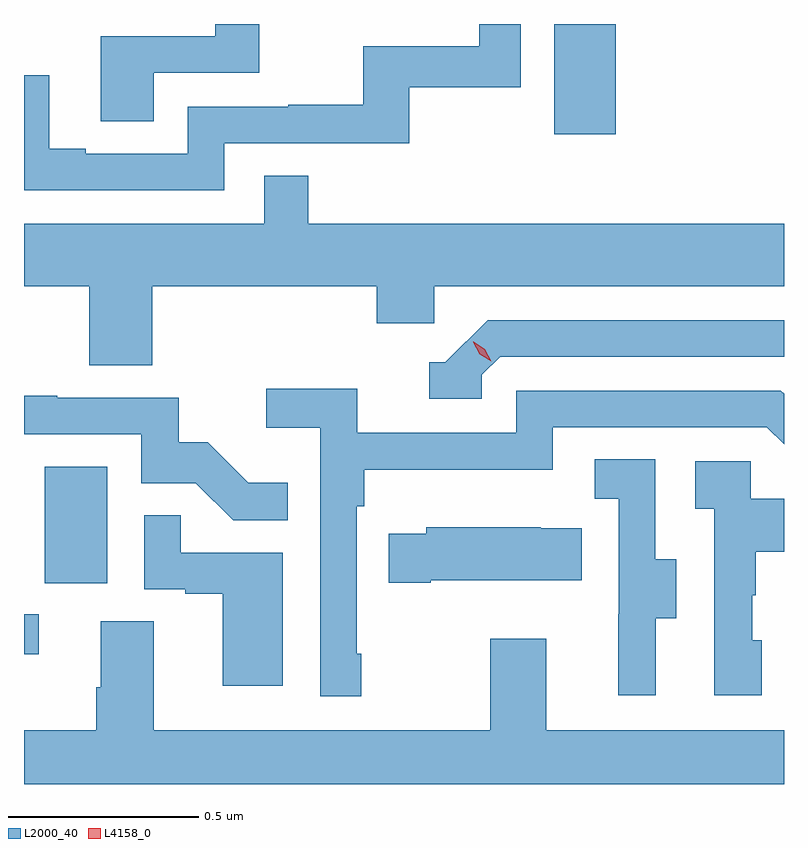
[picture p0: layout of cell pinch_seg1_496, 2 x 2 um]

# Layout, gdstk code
import gdstk
lib = gdstk.Library(unit=1e-6, precision=1e-09)
def R(c, l, rs):  # rectangles x0, y0, x1, y1
    for r in rs: c.add(gdstk.rectangle(r[:2], r[2:], *l))
def P(c, l, *ps):  # polygons
    for p in ps: c.add(gdstk.Polygon(p, *l))
L2000_40 = (2000, 40)
L4158_0 = (4158, 0)

pinch_seg1_496 = lib.new_cell('pinch_seg1_496')
R(pinch_seg1_496, L2000_40, [(1090.339,524.124,1090.378,524.229), (1090.394,524.31,1090.558,524.617), (1091.735,525.492,1091.896,525.782)])
P(pinch_seg1_496, L2000_40, [(1090.681,525.654),(1090.958,525.654),(1090.958,525.782),(1090.842,525.782),(1090.842,525.75),(1090.541,525.75),(1090.541,525.526),(1090.681,525.526)],
  [(1090.866,525.468),(1091.353,525.468),(1091.353,525.615),(1091.646,525.615),(1091.646,525.782),(1091.537,525.782),(1091.537,525.724),(1091.232,525.724),(1091.232,525.569),(1091.035,525.569),(1091.035,525.564),(1090.77,525.564),(1090.77,525.441),(1090.501,525.441),(1090.501,525.454),(1090.405,525.454),(1090.405,525.647),(1090.339,525.647),(1090.339,525.345),(1090.866,525.345)],
  [(1090.676,525.092),(1091.267,525.092),(1091.267,524.994),(1091.418,524.994),(1091.418,525.092),(1092.339,525.092),(1092.339,525.256),(1091.087,525.256),(1091.087,525.383),(1090.971,525.383),(1090.971,525.256),(1090.339,525.256),(1090.339,525.092),(1090.511,525.092),(1090.511,524.884),(1090.676,524.884)],
  [(1091.544,524.859),(1091.592,524.907),(1092.339,524.907),(1092.339,525.003),(1091.559,525.003),(1091.448,524.892),(1091.405,524.892),(1091.405,524.796),(1091.544,524.796)],
  [(1091.227,524.125),(1091.214,524.125),(1091.214,524.513),(1091.234,524.513),(1091.234,524.609),(1091.73,524.609),(1091.73,524.721),(1092.294,524.721),(1092.339,524.676),(1092.339,524.809),(1092.331,524.817),(1091.634,524.817),(1091.634,524.706),(1091.216,524.706),(1091.216,524.822),(1090.977,524.822),(1090.977,524.72),(1091.118,524.72),(1091.118,524.013),(1091.227,524.013)],
  [(1091.033,524.575),(1090.929,524.575),(1090.822,524.682),(1090.746,524.682),(1090.746,524.799),(1090.427,524.799),(1090.427,524.804),(1090.339,524.804),(1090.339,524.703),(1090.647,524.703),(1090.647,524.574),(1090.791,524.574),(1090.889,524.476),(1091.033,524.476)],
  [(1092.001,524.218),(1092.055,524.218),(1092.055,524.373),(1092,524.373),(1092,524.636),(1091.841,524.636),(1091.841,524.533),(1091.904,524.533),(1091.904,524.229),(1091.903,524.229),(1091.903,524.016),(1092.001,524.016)],
  [(1092.28,524.16),(1092.255,524.16),(1092.255,524.279),(1092.265,524.279),(1092.265,524.393),(1092.339,524.393),(1092.339,524.533),(1092.252,524.533),(1092.252,524.631),(1092.105,524.631),(1092.105,524.507),(1092.156,524.507),(1092.156,524.016),(1092.28,524.016)],
  [(1091.02,524.391),(1090.751,524.391),(1090.751,524.489),(1090.656,524.489),(1090.656,524.295),(1090.763,524.295),(1090.763,524.283),(1090.862,524.283),(1090.862,524.04),(1091.02,524.04)],
  [(1091.41,524.318),(1091.807,524.318),(1091.807,524.455),(1091.699,524.455),(1091.699,524.458),(1091.397,524.458),(1091.397,524.44),(1091.299,524.44),(1091.299,524.311),(1091.41,524.311)],
  [(1092.339,523.924),(1091.713,523.924),(1091.713,524.164),(1091.566,524.164),(1091.566,523.924),(1090.681,523.924),(1090.681,524.21),(1090.541,524.21),(1090.541,524.036),(1090.529,524.036),(1090.529,523.924),(1090.339,523.924),(1090.339,523.782),(1092.339,523.782)])
P(pinch_seg1_496, L4158_0, [(1091.568,524.894),(1091.538,524.913),(1091.521,524.945),(1091.521,524.946),(1091.522,524.946),(1091.552,524.926),(1091.569,524.894),(1091.569,524.894)])

lib.write_gds('pinch_seg1_496.gds')
